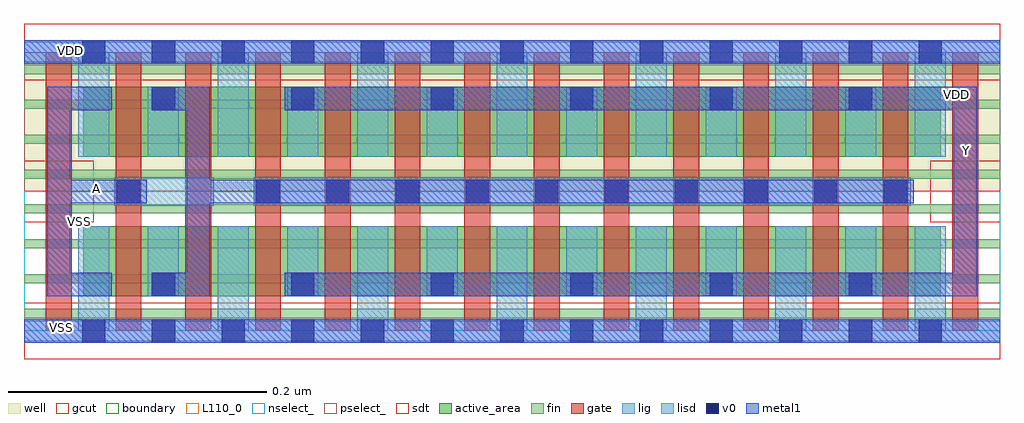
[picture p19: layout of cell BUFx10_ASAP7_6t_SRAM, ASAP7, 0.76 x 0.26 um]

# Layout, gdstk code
import gdstk
lib = gdstk.Library(unit=1e-6, precision=2.5e-10)
def R(c, l, rs):  # rectangles x0, y0, x1, y1
    for r in rs: c.add(gdstk.rectangle(r[:2], r[2:], *l))
def A(c, l, x, y, w, h, nx, ny, dx, dy):  # array of equal rectangles
    R(c, l, [(x+i*dx, y+j*dy, x+i*dx+w, y+j*dy+h) for i in range(nx) for j in range(ny)])
def P(c, l, *ps):  # polygons
    for p in ps: c.add(gdstk.Polygon(p, *l))
well = (1, 0)
fin = (2, 0)
gate = (7, 0)
gcut = (10, 0)
active_area = (11, 0)
nselect_ = (12, 0)
pselect_ = (13, 0)
lig = (16, 0)
lisd = (17, 0)
v0 = (18, 0)
metal1 = (19, 0)
sdt = (88, 0)
boundary = (100, 0)
L110_0 = (110, 0)

bufx10_asap7_6t_sram = lib.new_cell('BUFx10_ASAP7_6t_SRAM')
R(bufx10_asap7_6t_sram, well, [(0,0.108,0.756,0.216)])
A(bufx10_asap7_6t_sram, fin, 0, 0.01, 0.756, 0.007, 1, 7, 0, 0.027)
R(bufx10_asap7_6t_sram, fin, [(0,0.172,0.756,0.179), (0,0.199,0.756,0.206), (0,0.199,0.756,0.206)])
A(bufx10_asap7_6t_sram, gate, 0.017, 0, 0.02, 0.216, 14, 1, 0.054, 0)
R(bufx10_asap7_6t_sram, gcut, [(0,-0.022,0.756,0.022), (0,0.084,0.054,0.132), (0.702,0.084,0.756,0.132), (0,0.194,0.756,0.238)])
R(bufx10_asap7_6t_sram, active_area, [(0.046,0.027,0.71,0.081), (0.046,0.135,0.71,0.189)])
R(bufx10_asap7_6t_sram, nselect_, [(0,0,0.756,0.108)])
R(bufx10_asap7_6t_sram, pselect_, [(0,0.108,0.756,0.216)])
R(bufx10_asap7_6t_sram, lig, [(0,-0.008,0.756,0.008), (0.07,0.097,0.147,0.119), (0.178,0.097,0.687,0.119), (0,0.208,0.756,0.224)])
A(bufx10_asap7_6t_sram, lisd, 0.042, 0, 0.024, 0.081, 7, 2, 0.108, 0.135)
A(bufx10_asap7_6t_sram, lisd, 0.096, 0.027, 0.024, 0.054, 6, 2, 0.108, 0.108)
A(bufx10_asap7_6t_sram, v0, 0.045, -0.009, 0.018, 0.018, 13, 2, 0.054, 0.216)
A(bufx10_asap7_6t_sram, v0, 0.099, 0.027, 0.018, 0.018, 6, 2, 0.108, 0.144)
A(bufx10_asap7_6t_sram, v0, 0.18, 0.099, 0.018, 0.018, 10, 1, 0.054, 0)
R(bufx10_asap7_6t_sram, v0, [(0.072,0.099,0.09,0.117)])
R(bufx10_asap7_6t_sram, metal1, [(0,-0.009,0.756,0.009), (0,0.207,0.756,0.225)])
P(bufx10_asap7_6t_sram, metal1, [(0.095,0.117),(0.036,0.117),(0.036,0.171),(0.068,0.171),(0.068,0.189),(0.018,0.189),(0.018,0.027),(0.068,0.027),(0.068,0.045),(0.036,0.045),(0.036,0.099),(0.095,0.099)],
  [(0.689,0.117),(0.144,0.117),(0.144,0.189),(0.099,0.189),(0.099,0.171),(0.126,0.171),(0.126,0.045),(0.099,0.045),(0.099,0.027),(0.144,0.027),(0.144,0.099),(0.689,0.099)],
  [(0.738,0.189),(0.202,0.189),(0.202,0.171),(0.72,0.171),(0.72,0.045),(0.202,0.045),(0.202,0.027),(0.738,0.027)])
A(bufx10_asap7_6t_sram, sdt, 0.042, 0.027, 0.024, 0.054, 13, 2, 0.054, 0.108)
R(bufx10_asap7_6t_sram, boundary, [(0,0,0.756,0.216)])
R(bufx10_asap7_6t_sram, L110_0, [(0,0,0.756,0.216)])
bufx10_asap7_6t_sram.add(gdstk.Label('A', (0.056,0.11), layer=19, texttype=251))
bufx10_asap7_6t_sram.add(gdstk.Label('Y', (0.73,0.14), layer=19, texttype=251))
bufx10_asap7_6t_sram.add(gdstk.Label('VSS', (0.029,0.003), layer=19, texttype=251))
bufx10_asap7_6t_sram.add(gdstk.Label('VDD', (0.036,0.217), layer=19, texttype=251))
bufx10_asap7_6t_sram.add(gdstk.Label('VSS', (0.043,0.085), layer=3, texttype=251))
bufx10_asap7_6t_sram.add(gdstk.Label('VDD', (0.722,0.183), layer=1, texttype=251))

lib.write_gds('BUFx10_ASAP7_6t_SRAM.gds')
